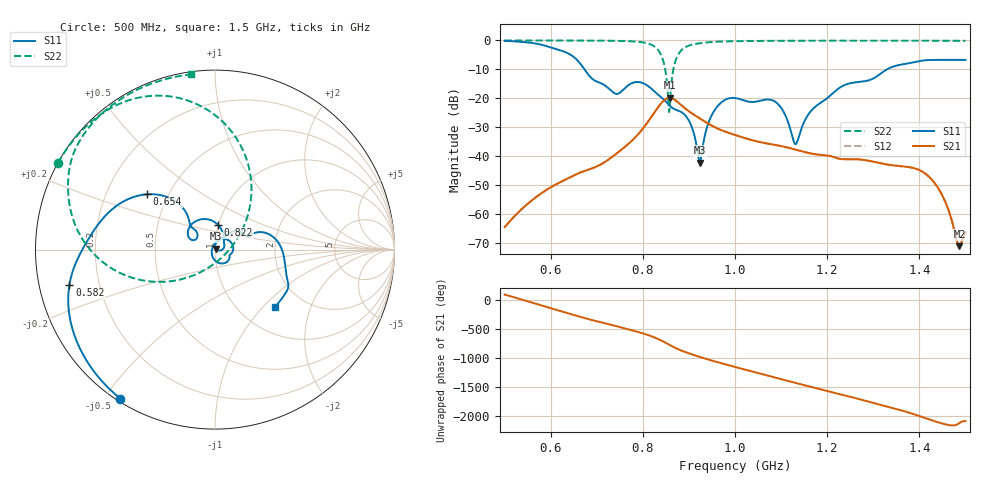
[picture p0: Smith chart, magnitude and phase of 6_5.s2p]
! TOUCHSTONE file generated by CST MICROWAVE STUDIO
! Date and time: Mon Oct 26 12:25:24 2020
! Project name: Scenario_1_Circular_Tissue_out_of_Line.cst
! Parameters = {dy1=-259.295; L_HA=400; MT=2.54; Rad_Dielectric=30; Rad_Lower=7.3; Rad_Upper=30; a_HA=580; a_WG=246; b_HA=500; b_WG=121; c_HA=0; c_WG=187; d_feed=85; dx1=866; h_feed=15; h_lower=18; h_upper=40}
! Header version: 2018
! Port assignment regex: !\s*Touchstone port\s*([0-9]+)\s*=\s*(CST MWS port|CST DS port)\s*([0-9]+|Zmin|Zmax)\s*\(\"(.*)\"\)(\s*mode\s*([0-9]+))?.*
! Touchstone port assignment:
! Touchstone port 1 = CST MWS port 1 ("")
! Touchstone port 2 = CST MWS port 2 ("")
# GHz S DB R 50
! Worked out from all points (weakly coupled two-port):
!   1001 points, 500 MHz to 1.5 GHz, reference 50 ohm
!   highest |S21| = -19.76 dB at 858 MHz (marker M1); lowest = -70.9 dB at 1.487 GHz (marker M2)
!   lowest |S11| = -42.1 dB at 924 MHz (marker M3), VSWR 1.02, Z = 50.6 + j0.53 ohm
!   |S11| at or under -10 dB: 673.4 MHz to 1.33 GHz (656.2 MHz wide, 65.5 % of centre)
!   |S22| runs from -24.7 to 0.0 dB; largest |S21 - S12| = 6.4e-05
!   S11 on the Smith chart (normalised r, x): 500 MHz: 0.01, -0.55; 582 MHz: 0.09, -0.12; 654 MHz: 0.38, +0.31; 822 MHz: 0.99, +0.28; 1.5 GHz: 1.43, -1.17
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0.5  -0.15 -122.5  -64.38 89.2  -64.38 89.2  -0.01 151.1
0.582  -1.56 -166.2  -52.46 -101.8  -52.45 -101.8  -0.02 145.4
0.654  -6.24 140.8  -46.26 89.5  -46.26 89.5  -0.04 139.6
0.667  -8.59 130.7  -45.37 59.7  -45.37 59.7  -0.04 138.3
0.74  -18.33 144.1  -39.35 -88.2  -39.35 -88.2  -0.13 129.2
0.786  -14.34 132.5  -33.01 174.2  -33.01 174.2  -0.41 118.2
0.822  -17.12 83.2  -25.55 83.1  -25.55 83.1  -1.75 97.2
0.834  -18.84 70.6  -22.85 43.3  -22.85 43.3  -3.46 82.7
0.858  -22.39 47.4  -19.76 -55.6  -19.76 -55.6  -23.75 -75.8
0.878  -24.27 32.8  -21.58 -134.4  -21.58 -134.4  -4.52 -170.5
0.903  -28.63 -3.6  -24.77 151.1  -24.77 151.1  -1.63 165.3
0.924  -42.10 41.9  -26.94 96.3  -26.94 96.3  -0.95 156.0
0.954  -24.50 66.3  -29.74 25.6  -29.74 25.6  -0.51 147.9
1  -19.85 1.9  -32.60 -73.9  -32.60 -73.9  -0.27 140.1
1.089  -21.33 -64.5  -36.09 100.6  -36.09 100.6  -0.13 130.6
1.131  -35.74 168.1  -37.63 12.4  -37.63 12.4  -0.11 127.0
1.167  -23.97 64.1  -39.04 -59.4  -39.05 -59.3  -0.10 124.1
1.334  -9.63 12.6  -42.87 -41.0  -42.87 -41.0  -0.08 111.4
1.428  -6.72 -28.8  -48.14 87.4  -48.18 86.8  -0.10 104.0
1.457  -6.71 -34.9  -55.90 20.0  -55.80 20.2  -0.11 101.5
1.487  -6.71 -41.4  -70.94 43.7  -70.85 40.4  -0.13 99.0
1.5  -6.70 -44.1  -66.16 76.1  -66.16 76.1  -0.13 97.8
